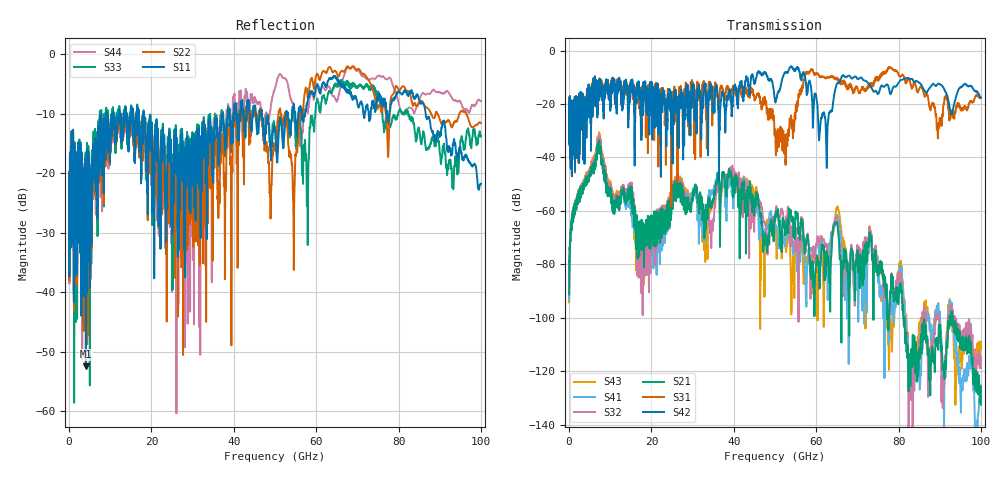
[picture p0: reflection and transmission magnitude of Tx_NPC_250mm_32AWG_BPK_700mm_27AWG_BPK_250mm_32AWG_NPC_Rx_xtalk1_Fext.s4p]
! Info: Touchstone file created by Circ.  Input file=Tx_NPC_250mm_32AWG_BPK_700mm_27AWG_BPK_250mm_32AWG_NPC_Rx.circ
# Hz S RI R 50
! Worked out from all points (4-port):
!   10000 points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, 10 MHz to 100 GHz, reference 50 ohm
!   strongest paths, dB at 10 MHz, 25.01 GHz, 50.01 GHz, 75.01 GHz, 100 GHz:
!     S42: -28.4, -18.5, -18.4, -16.3, -17.6
!     S31: -28.3, -23.7, -29.6, -10.3, -17.5
!     S21: -91.3, -54.5, -63.7, -83.1, -132.6
!     S32: -90.8, -52.4, -61.2, -81.3, -118.9
!     S41: -93.2, -53.9, -65.3, -82.6, -127.6
!     S43: -94.3, -51.7, -64.5, -82.1, -111.9
!   lowest |S11| = -52.5 dB at 4.07 GHz (marker M1), VSWR 1.00, Z = 50.1 - j0.211 ohm
!   |S11| at or under -10 dB: start of sweep to 8.926 GHz; 18.1 GHz to 37.37 GHz (19.27 GHz wide, 69.5 % of centre); 86.59 GHz to end of sweep (the widest 3 of 43)
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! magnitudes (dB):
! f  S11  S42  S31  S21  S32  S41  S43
! 10 MHz  -24.1  -28.4  -28.3  -91.3  -90.8  -93.2  -94.3
! 4.07 GHz  -52.5  -21.1  -20.2  -48.3  -47.6  -47.6  -46.9
! 17.01 GHz  -12.1  -14.9  -17.2  -77.0  -81.3  -73.4  -76.8
! 39.24 GHz  -11.2  -19.0  -16.8  -45.5  -43.8  -47.3  -46.1
! 54.27 GHz  -8.9  -6.5  -27.9  -62.3  -65.4  -74.3  -87.1
! 62.52 GHz  -5.3  -38.6  -10.2  -75.2  -72.4  -77.7  -76.5
! 100 GHz  -21.8  -17.6  -17.5  -132.6  -118.9  -127.6  -111.9
